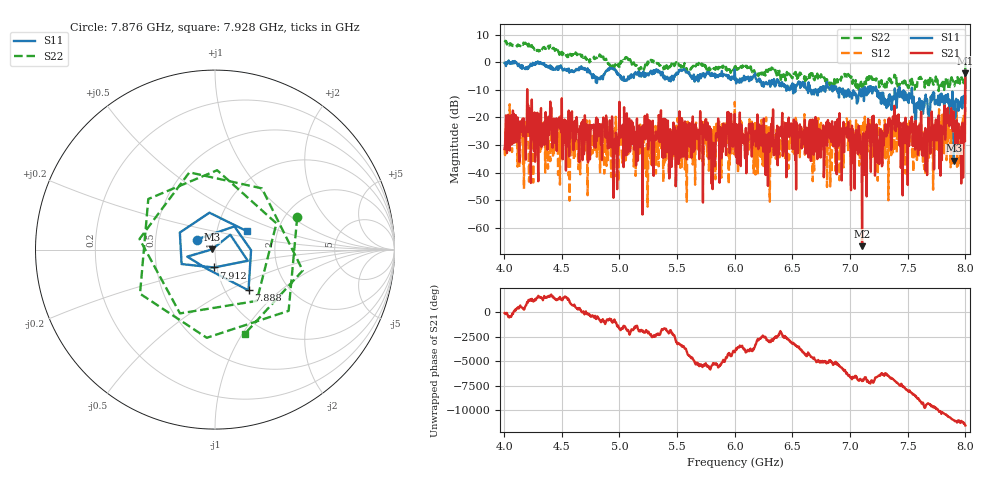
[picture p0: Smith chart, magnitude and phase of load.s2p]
# Hz S RI R 50
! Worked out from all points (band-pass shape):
!   1000 points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, 4.004 GHz to 8 GHz, reference 50 ohm
!   highest |S21| = -4.09 dB at 8 GHz (marker M1); lowest = -66.5 dB at 7.104 GHz (marker M2)
!   |S21| within 3 dB of the highest: 7.999512 GHz to end of sweep
!   lowest |S11| = -35.7 dB at 7.9 GHz (marker M3), VSWR 1.03, Z = 48.4 + j0.107 ohm
!   |S11| at or under -10 dB: 7.232 GHz to 7.387 GHz (155.5 MHz wide, 2.13 % of centre); 7.429 GHz to 7.535 GHz (105.9 MHz wide, 1.41 % of centre); 7.537 GHz to 7.997 GHz (460.7 MHz wide, 5.93 % of centre) (the widest 3 of 33)
!   |S22| runs from -10.4 to 7.9 dB; largest |S21 - S12| = 1.2
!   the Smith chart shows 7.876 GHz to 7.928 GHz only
!   S11 on the Smith chart (normalised r, x): 7.876 GHz: 0.81, +0.09; 7.888 GHz: 1.28, -0.64; 7.912 GHz: 0.97, -0.20; 7.928 GHz: 1.40, +0.30
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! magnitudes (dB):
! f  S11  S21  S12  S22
! 4.004 GHz  -0.3  -31.4  -31.3  7.9
! 4.22 GHz  -1.8  -21.5  -34.8  6.2
! 4.672 GHz  -1.7  -21.8  -27.7  2.4
! 4.876 GHz  -3.6  -21.8  -31.9  0.9
! 4.964 GHz  -3.0  -30.0  -32.0  -0.7
! 5.012 GHz  -4.9  -25.3  -24.6  0.4
! 5.236 GHz  -4.6  -26.8  -29.6  -1.0
! 5.336 GHz  -3.7  -25.9  -22.9  -0.6
! 6.004 GHz  -6.5  -27.4  -30.5  -2.8
! 6.668 GHz  -11.7  -24.0  -34.0  -4.7
! 7.104 GHz  -12.0  -66.5  -25.4  -7.4
! 7.336 GHz  -12.1  -23.0  -25.4  -5.9
! 7.604 GHz  -15.7  -31.6  -21.6  -5.5
! 7.648 GHz  -13.3  -26.6  -24.9  -9.2
! 7.792 GHz  -11.4  -30.2  -24.0  -8.6
! 7.876 GHz  -18.6  -16.6  -31.4  -6.2
! 7.888 GHz  -10.6  -23.0  -18.7  -6.3
! 7.9 GHz  -35.7  -21.9  -24.4  -8.6
! 7.912 GHz  -20.0  -27.6  -18.7  -7.4
! 7.928 GHz  -13.7  -24.9  -37.8  -6.1
! 7.976 GHz  -14.3  -22.0  -23.9  -6.3
! 8 GHz  -3.1  -4.1  -2.3  0.1
